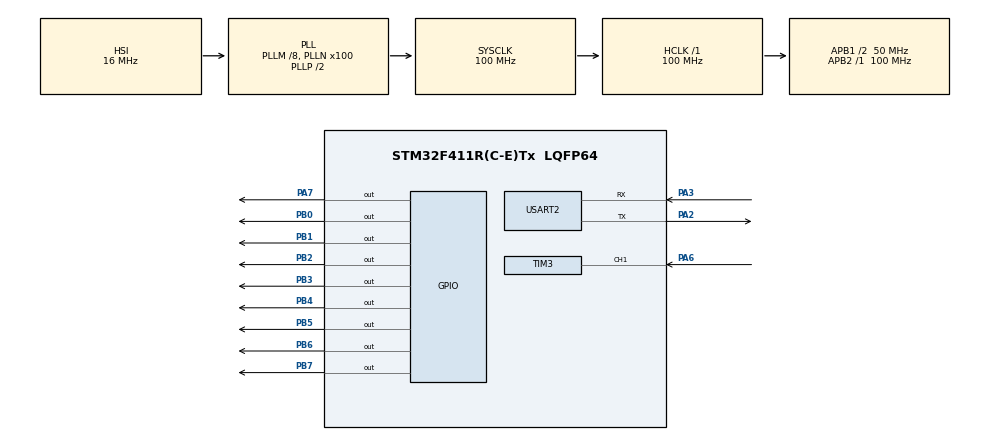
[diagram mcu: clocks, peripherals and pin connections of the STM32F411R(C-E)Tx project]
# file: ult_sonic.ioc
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Mcu.Family=STM32F4
Mcu.Name=STM32F411R(C-E)Tx
Mcu.Package=LQFP64
NVIC.PriorityGroup=NVIC_PRIORITYGROUP_4
NVIC.TIM3_IRQn=true\:0\:0\:false\:false\:true\:true\:true\:true
NVIC.USART2_IRQn=true\:0\:0\:false\:false\:true\:true\:true\:true
PA2.Mode=Asynchronous
PA2.Signal=USART2_TX
PA3.Mode=Asynchronous
PA3.Signal=USART2_RX
PA6.Signal=S_TIM3_CH1
PA7.GPIO_Speed=GPIO_SPEED_FREQ_HIGH
PA7.Signal=GPIO_Output
PB0.Signal=GPIO_Output
PB1.Signal=GPIO_Output
PB2.Signal=GPIO_Output
PB3.Signal=GPIO_Output
PB4.Signal=GPIO_Output
PB5.Signal=GPIO_Output
PB6.Signal=GPIO_Output
PB7.Signal=GPIO_Output
PH0\ -\ OSC_IN.Mode=HSE-External-Oscillator
PH0\ -\ OSC_IN.Signal=RCC_OSC_IN
PH1\ -\ OSC_OUT.Mode=HSE-External-Oscillator
PH1\ -\ OSC_OUT.Signal=RCC_OSC_OUT
ProjectManager.HeapSize=0x200
ProjectManager.StackSize=0x400
ProjectManager.TargetToolchain=STM32CubeIDE
RCC.48MHZClocksFreq_Value=50000000
RCC.AHBFreq_Value=100000000
RCC.APB1CLKDivider=RCC_HCLK_DIV2
RCC.APB1Freq_Value=50000000
RCC.APB1TimFreq_Value=100000000
RCC.APB2Freq_Value=100000000
RCC.APB2TimFreq_Value=100000000
RCC.CortexFreq_Value=100000000
RCC.HCLKFreq_Value=100000000
RCC.HSE_VALUE=8000000
RCC.HSI_VALUE=16000000
RCC.LSE_VALUE=32768
RCC.PLLM=8
RCC.PLLN=100
RCC.SYSCLKFreq_VALUE=100000000
RCC.SYSCLKSource=RCC_SYSCLKSOURCE_PLLCLK
RCC.VCOOutputFreq_Value=200000000
SH.S_TIM3_CH1.0=TIM3_CH1,Input_Capture1_from_TI1
TIM3.Channel-Input_Capture1_from_TI1=TIM_CHANNEL_1
TIM3.ICFilter_CH1=4
TIM3.Prescaler=99-1
USART2.VirtualMode=VM_ASYNC
VP_TIM3_VS_ClockSourceINT.Mode=Internal
board=custom

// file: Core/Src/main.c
/* USER CODE BEGIN Header */
/**
  ******************************************************************************
  * @file           : main.c
  * @brief          : Main program body
  ******************************************************************************
  * @attention
  *
  * Copyright (c) 2023 STMicroelectronics.
  * All rights reserved.
  *
  * This software is licensed under terms that can be found in the LICENSE file
  * in the root directory of this software component.
  * If no LICENSE file comes with this software, it is provided AS-IS.
  *
  ******************************************************************************
  */
/* USER CODE END Header */
#include "main.h"
#include "tim.h"
#include "usart.h"
#include "gpio.h"

/* USER CODE BEGIN Includes */
#ifdef __GNUC__
  /* With GCC, small printf (option LD Linker->Libraries->Small printf
     set to 'Yes') calls __io_putchar() */
  #define PUTCHAR_PROTOTYPE int __io_putchar(int ch)
#else
  #define PUTCHAR_PROTOTYPE int fputc(int ch, FILE *f)
#endif /* __GNUC__ */
PUTCHAR_PROTOTYPE
{
  /* Place your implementation of fputc here */
  /* e.g. write a character to the EVAL_COM1 and Loop until the end of transmission */
  HAL_UART_Transmit(&huart2, (uint8_t *)&ch, 1, 0xFFFF);

  return ch;
}
/* USER CODE END Includes */

void SystemClock_Config(void);
/* USER CODE BEGIN PFP */
volatile uint8_t Is_First_Captured=0;
volatile uint32_t IC_Val1=0,IC_Val2=0;
volatile uint32_t Difference=0,Distance=0;
void delay_us(uint16_t time)
{
    __HAL_TIM_SET_COUNTER(&htim3, 0);
    while (__HAL_TIM_GET_COUNTER (&htim3) < time);
}

void HAL_TIM_IC_CaptureCallback(TIM_HandleTypeDef *htim)
{
    if (htim->Channel == HAL_TIM_ACTIVE_CHANNEL_1)  // if the interrupt source is channel1
    {
        if (Is_First_Captured==0) // if the first value is not captured
        {
            IC_Val1 = HAL_TIM_ReadCapturedValue(htim, TIM_CHANNEL_1); // read the first value
            Is_First_Captured = 1;  // set the first captured as true
            // Now change the polarity to falling edge
            __HAL_TIM_SET_CAPTUREPOLARITY(htim, TIM_CHANNEL_1, TIM_INPUTCHANNELPOLARITY_FALLING);
        }

        else if (Is_First_Captured==1)   // if the first is already captured
        {
            IC_Val2 = HAL_TIM_ReadCapturedValue(htim, TIM_CHANNEL_1);  // read second value
            __HAL_TIM_SET_COUNTER(htim, 0);  // reset the counter

            if (IC_Val2 > IC_Val1)
            {
                Difference = IC_Val2-IC_Val1;
            }

            else if (IC_Val1 > IC_Val2)
            {
                Difference = (0xffff - IC_Val1) + IC_Val2;
            }

            Distance = Difference * .034/2;
            Is_First_Captured = 0; // set it back to false

            // set polarity to rising edge
            __HAL_TIM_SET_CAPTUREPOLARITY(htim, TIM_CHANNEL_1, TIM_INPUTCHANNELPOLARITY_RISING);
            __HAL_TIM_DISABLE_IT(&htim3, TIM_IT_CC1);
        }
    }
}

void HCSR04_Read (void)
{
    HAL_GPIO_WritePin(GPIOA,GPIO_PIN_7,GPIO_PIN_SET);  // pull the TRIG pin HIGH
    delay_us(10);  // wait for 10 us
    HAL_GPIO_WritePin(GPIOA,GPIO_PIN_7,GPIO_PIN_RESET);  // pull the TRIG pin low
    __HAL_TIM_ENABLE_IT(&htim3, TIM_IT_CC1);
}

/* USER CODE END PFP */

int main(void)
{

  /* MCU Configuration--------------------------------------------------------*/

  /* Reset of all peripherals, Initializes the Flash interface and the Systick. */
  HAL_Init();

  /* Configure the system clock */
  SystemClock_Config();

  /* Initialize all configured peripherals */
  MX_GPIO_Init();
  MX_TIM3_Init();
  MX_USART2_UART_Init();
  /* USER CODE BEGIN 2 */
 // HAL_TIM_Base_Start(&htim3);
  HAL_TIM_IC_Start_IT(&htim3, TIM_CHANNEL_1);

  /* USER CODE END 2 */

  /* Infinite loop */
  while (1)
  {

  }
}

void SystemClock_Config(void)
{
  RCC_OscInitTypeDef RCC_OscInitStruct = {0};
  RCC_ClkInitTypeDef RCC_ClkInitStruct = {0};

  /** Configure the main internal regulator output voltage
  */
  __HAL_RCC_PWR_CLK_ENABLE();
  __HAL_PWR_VOLTAGESCALING_CONFIG(PWR_REGULATOR_VOLTAGE_SCALE1);

  /** Initializes the RCC Oscillators according to the specified parameters
  * in the RCC_OscInitTypeDef structure.
  */
  RCC_OscInitStruct.OscillatorType = RCC_OSCILLATORTYPE_HSI;
  RCC_OscInitStruct.HSIState = RCC_HSI_ON;
  RCC_OscInitStruct.HSICalibrationValue = RCC_HSICALIBRATION_DEFAULT;
  RCC_OscInitStruct.PLL.PLLState = RCC_PLL_ON;
  RCC_OscInitStruct.PLL.PLLSource = RCC_PLLSOURCE_HSI;
  RCC_OscInitStruct.PLL.PLLM = 8;
  RCC_OscInitStruct.PLL.PLLN = 100;
  RCC_OscInitStruct.PLL.PLLP = RCC_PLLP_DIV2;
  RCC_OscInitStruct.PLL.PLLQ = 4;
  if (HAL_RCC_OscConfig(&RCC_OscInitStruct) != HAL_OK)
  {
    Error_Handler();
  }

  /** Initializes the CPU, AHB and APB buses clocks
  */
  RCC_ClkInitStruct.ClockType = RCC_CLOCKTYPE_HCLK|RCC_CLOCKTYPE_SYSCLK
                              |RCC_CLOCKTYPE_PCLK1|RCC_CLOCKTYPE_PCLK2;
  RCC_ClkInitStruct.SYSCLKSource = RCC_SYSCLKSOURCE_PLLCLK;
  RCC_ClkInitStruct.AHBCLKDivider = RCC_SYSCLK_DIV1;
  RCC_ClkInitStruct.APB1CLKDivider = RCC_HCLK_DIV2;
  RCC_ClkInitStruct.APB2CLKDivider = RCC_HCLK_DIV1;

  if (HAL_RCC_ClockConfig(&RCC_ClkInitStruct, FLASH_LATENCY_3) != HAL_OK)
  {
    Error_Handler();
  }
}

void Error_Handler(void)
{
  __disable_irq();
  while (1)
  {
  }
}
